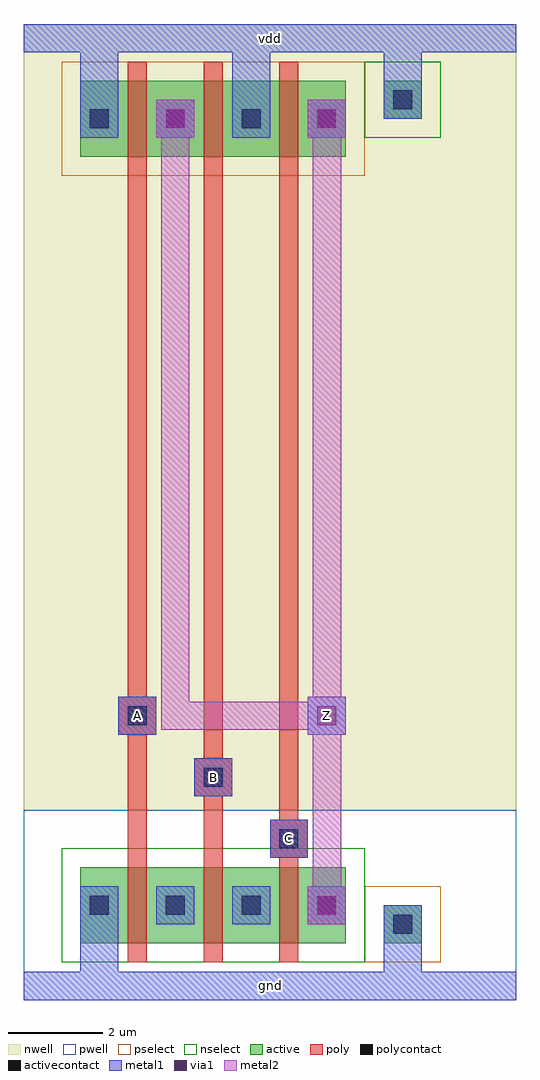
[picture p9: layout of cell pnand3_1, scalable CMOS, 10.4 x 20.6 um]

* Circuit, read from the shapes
.subckt pnand3_1 A B C Z gnd vdd
M1 nmos_m1_w1_6_a_p_3/D A gnd gnd nfet w=1.6u l=0.4u
M2 nmos_m1_w1_6_a_p_4/D B nmos_m1_w1_6_a_p_3/D gnd nfet w=1.6u l=0.4u
M3 Z C nmos_m1_w1_6_a_p_4/D gnd nfet w=1.6u l=0.4u
M4 Z A vdd vdd pfet w=1.6u l=0.4u
M5 vdd B Z vdd pfet w=1.6u l=0.4u
M6 Z C vdd vdd pfet w=1.6u l=0.4u
.ends

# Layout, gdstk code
from math import pi, radians
import gdstk
lib = gdstk.Library(unit=1e-6, precision=1e-09)
def R(c, l, rs):  # rectangles x0, y0, x1, y1
    for r in rs: c.add(gdstk.rectangle(r[:2], r[2:], *l))
def A(c, l, x, y, w, h, nx, ny, dx, dy):  # array of equal rectangles
    R(c, l, [(x+i*dx, y+j*dy, x+i*dx+w, y+j*dy+h) for i in range(nx) for j in range(ny)])
pwell = (41, 0)
nwell = (42, 0)
active = (43, 0)
pselect = (44, 0)
nselect = (45, 0)
poly = (46, 0)
polycontact = (47, 0)
activecontact = (48, 0)
metal1 = (49, 0)
via1 = (50, 0)
metal2 = (51, 0)

active_contact_metal1_1x = lib.new_cell('active_contact_metal1_1x1_pn')
R(active_contact_metal1_1x, nwell, [(-1.2,-1.2,2,2)])
R(active_contact_metal1_1x, active, [(0,0,0.8,0.8)])
R(active_contact_metal1_1x, pselect, [(-0.4,-0.4,1.2,1.2)])
R(active_contact_metal1_1x, activecontact, [(0.2,0.2,0.6,0.6)])
R(active_contact_metal1_1x, metal1, [(0,0,0.8,0.8)])

pmos_m1_w1_6_a_p = lib.new_cell('pmos_m1_w1_6_a_p')
R(pmos_m1_w1_6_a_p, nwell, [(-1.2,-1.2,3.6,2.8)])
R(pmos_m1_w1_6_a_p, active, [(0,0,2.4,1.6)])
R(pmos_m1_w1_6_a_p, pselect, [(-0.4,-0.4,2.8,2)])
R(pmos_m1_w1_6_a_p, poly, [(1,-0.4,1.4,2), (1,-0.4,1.4,2)])
R(pmos_m1_w1_6_a_p, metal1, [(0,0.4,0.8,1.2), (1.6,0.4,2.4,1.2)])
pmos_m1_w1_6_a_p.add(gdstk.Reference(active_contact_metal1_1x, (0,0.4)))
pmos_m1_w1_6_a_p.add(gdstk.Reference(active_contact_metal1_1x, (1.6,0.4)))
pmos_m1_w1_6_a_p.add(gdstk.Label('G', (1.2,0.8), layer=46, texttype=0))
pmos_m1_w1_6_a_p.add(gdstk.Label('S', (0.4,0.8), layer=49, texttype=0))
pmos_m1_w1_6_a_p.add(gdstk.Label('D', (2,0.8), layer=49, texttype=0))

c_active_contact_metal1_1x = lib.new_cell('active_contact_metal1_1x1_np')
R(c_active_contact_metal1_1x, pwell, [(-1.2,-1.2,2,2)])
R(c_active_contact_metal1_1x, active, [(0,0,0.8,0.8)])
R(c_active_contact_metal1_1x, nselect, [(-0.4,-0.4,1.2,1.2)])
R(c_active_contact_metal1_1x, activecontact, [(0.2,0.2,0.6,0.6)])
R(c_active_contact_metal1_1x, metal1, [(0,0,0.8,0.8)])

nmos_m1_w1_6_a_p = lib.new_cell('nmos_m1_w1_6_a_p')
R(nmos_m1_w1_6_a_p, pwell, [(-1.2,-1.2,3.6,2.8)])
R(nmos_m1_w1_6_a_p, active, [(0,0,2.4,1.6)])
R(nmos_m1_w1_6_a_p, nselect, [(-0.4,-0.4,2.8,2)])
R(nmos_m1_w1_6_a_p, poly, [(1,-0.4,1.4,2), (1,-0.4,1.4,2)])
R(nmos_m1_w1_6_a_p, metal1, [(0,0.4,0.8,1.2), (1.6,0.4,2.4,1.2)])
nmos_m1_w1_6_a_p.add(gdstk.Reference(c_active_contact_metal1_1x, (0,0.4)))
nmos_m1_w1_6_a_p.add(gdstk.Reference(c_active_contact_metal1_1x, (1.6,0.4)))
nmos_m1_w1_6_a_p.add(gdstk.Label('G', (1.2,0.8), layer=46, texttype=0))
nmos_m1_w1_6_a_p.add(gdstk.Label('S', (0.4,0.8), layer=49, texttype=0))
nmos_m1_w1_6_a_p.add(gdstk.Label('D', (2,0.8), layer=49, texttype=0))

c_active_contact_metal1_1x_ = lib.new_cell('active_contact_metal1_1x1_nn')
R(c_active_contact_metal1_1x_, nwell, [(-1.2,-1.2,2,2)])
R(c_active_contact_metal1_1x_, active, [(0,0,0.8,0.8)])
R(c_active_contact_metal1_1x_, nselect, [(-0.4,-0.4,1.2,1.2)])
R(c_active_contact_metal1_1x_, activecontact, [(0.2,0.2,0.6,0.6)])
R(c_active_contact_metal1_1x_, metal1, [(0,0,0.8,0.8)])

c_active_contact_metal1_1x__ = lib.new_cell('active_contact_metal1_1x1_pp')
R(c_active_contact_metal1_1x__, pwell, [(-1.2,-1.2,2,2)])
R(c_active_contact_metal1_1x__, active, [(0,0,0.8,0.8)])
R(c_active_contact_metal1_1x__, pselect, [(-0.4,-0.4,1.2,1.2)])
R(c_active_contact_metal1_1x__, activecontact, [(0.2,0.2,0.6,0.6)])
R(c_active_contact_metal1_1x__, metal1, [(0,0,0.8,0.8)])

poly_contact_metal1_1x1 = lib.new_cell('poly_contact_metal1_1x1')
R(poly_contact_metal1_1x1, poly, [(0,0,0.8,0.8)])
R(poly_contact_metal1_1x1, polycontact, [(0.2,0.2,0.6,0.6)])
R(poly_contact_metal1_1x1, metal1, [(0,0,0.8,0.8)])

metal1_via1_metal2_1x1 = lib.new_cell('metal1_via1_metal2_1x1')
R(metal1_via1_metal2_1x1, metal1, [(0,0,0.8,0.8)])
R(metal1_via1_metal2_1x1, via1, [(0.2,0.2,0.6,0.6)])
R(metal1_via1_metal2_1x1, metal2, [(0,0,0.8,0.8)])

pnand3_1 = lib.new_cell('pnand3_1')
R(pnand3_1, pwell, [(0,-0.3,10.4,3.7)])
R(pnand3_1, nwell, [(0,3.7,10.4,20.3)])
A(pnand3_1, poly, 2.2, 0.5, 0.4, 16.6, 3, 1, 1.6, 0)
R(pnand3_1, poly, [(5.4,2.7,5.6,3.5), (3.8,4,4,4.8), (2.2,5.3,2.4,6.1)])
R(pnand3_1, metal1, [(0,-0.3,10.4,0.3), (1.2,-0.3,2,1.3), (7.6,0,8.4,1.3), (5.2,2.7,6,3.5), (3.6,4,4.4,4.8), (2,5.3,2.8,6.1), (6,5.3,6.8,6.1), (1.2,17.9,2,20.3), (4.4,17.9,5.2,20.3), (7.6,18.7,8.4,20), (0,19.7,10.4,20.3)])
R(pnand3_1, metal2, [(6.1,2.1,6.7,17.9), (6.1,2.1,6.7,5.7), (2.9,5.4,3.5,6), (3.2,5.4,6.4,6), (6.1,5.4,6.7,6), (2.9,5.7,3.5,17.9)])
pnand3_1.add(gdstk.Reference(pmos_m1_w1_6_a_p, (1.2,17.5)))
pnand3_1.add(gdstk.Reference(pmos_m1_w1_6_a_p, (2.8,17.5)))
pnand3_1.add(gdstk.Reference(pmos_m1_w1_6_a_p, (4.4,17.5)))
pnand3_1.add(gdstk.Reference(nmos_m1_w1_6_a_p, (1.2,0.9)))
pnand3_1.add(gdstk.Reference(nmos_m1_w1_6_a_p, (2.8,0.9)))
pnand3_1.add(gdstk.Reference(nmos_m1_w1_6_a_p, (4.4,0.9)))
pnand3_1.add(gdstk.Reference(c_active_contact_metal1_1x_, (7.6,18.3)))
pnand3_1.add(gdstk.Reference(c_active_contact_metal1_1x__, (7.6,0.9)))
pnand3_1.add(gdstk.Reference(poly_contact_metal1_1x1, (6,2.7), rotation=pi/2))
pnand3_1.add(gdstk.Reference(poly_contact_metal1_1x1, (4.4,4), rotation=pi/2))
pnand3_1.add(gdstk.Reference(poly_contact_metal1_1x1, (2.8,5.3), rotation=pi/2))
pnand3_1.add(gdstk.Reference(metal1_via1_metal2_1x1, (2.8,17.9)))
pnand3_1.add(gdstk.Reference(metal1_via1_metal2_1x1, (6,17.9)))
pnand3_1.add(gdstk.Reference(metal1_via1_metal2_1x1, (6,1.3)))
pnand3_1.add(gdstk.Reference(metal1_via1_metal2_1x1, (6,5.3)))
pnand3_1.add(gdstk.Label('gnd', (5.2,0), layer=49, texttype=0))
pnand3_1.add(gdstk.Label('vdd', (5.2,20), layer=49, texttype=0))
pnand3_1.add(gdstk.Label('C', (5.6,3.1), layer=49, texttype=0))
pnand3_1.add(gdstk.Label('B', (4,4.4), layer=49, texttype=0))
pnand3_1.add(gdstk.Label('A', (2.4,5.7), layer=49, texttype=0))
pnand3_1.add(gdstk.Label('Z', (6.4,5.7), layer=49, texttype=0))

lib.write_gds('pnand3_1.gds')
